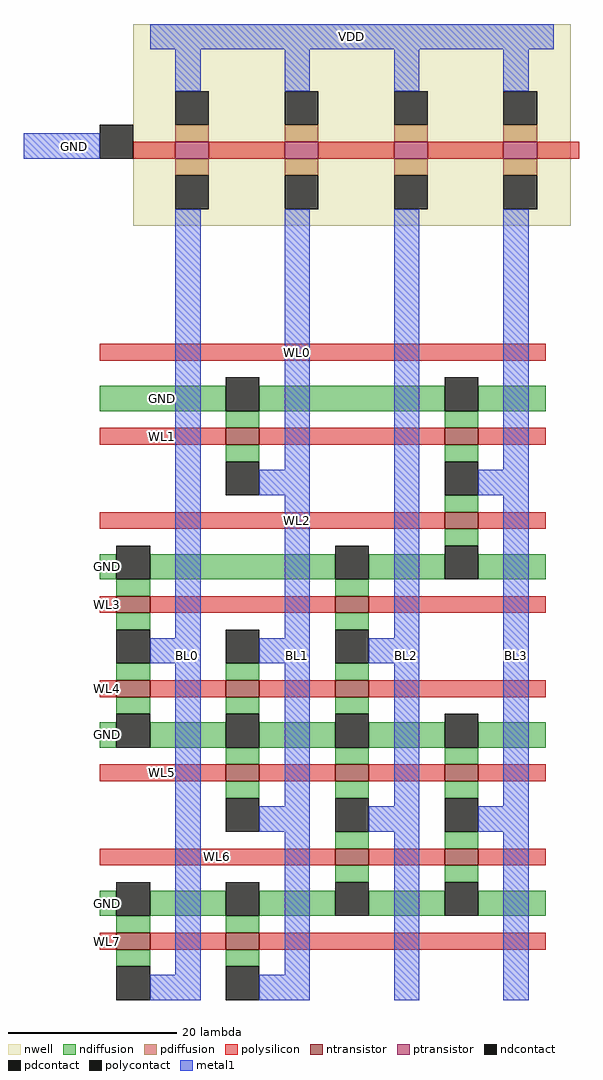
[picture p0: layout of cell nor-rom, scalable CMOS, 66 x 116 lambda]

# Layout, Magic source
magic
tech scmos
<< nwell >>
rect -22 91 30 115
<< polysilicon >>
rect -22 99 -17 101
rect -13 99 -4 101
rect 0 99 9 101
rect 13 99 22 101
rect 26 99 31 101
rect -26 75 27 77
rect -26 65 -11 67
rect -7 65 15 67
rect 19 65 27 67
rect -26 55 15 57
rect 19 55 27 57
rect -26 45 -24 47
rect -20 45 2 47
rect 6 45 27 47
rect -26 35 -24 37
rect -20 35 -11 37
rect -7 35 2 37
rect 6 35 27 37
rect -26 25 -11 27
rect -7 25 2 27
rect 6 25 15 27
rect 19 25 27 27
rect -26 15 2 17
rect 6 15 15 17
rect 19 15 27 17
rect -26 5 -24 7
rect -20 5 -11 7
rect -7 5 27 7
<< ndiffusion >>
rect -26 69 -11 72
rect -7 69 15 72
rect 19 69 27 72
rect -11 67 -7 69
rect 15 67 19 69
rect -11 63 -7 65
rect 15 63 19 65
rect 15 57 19 59
rect 15 53 19 55
rect -26 49 -24 52
rect -20 49 2 52
rect 6 49 15 52
rect 19 49 27 52
rect -24 47 -20 49
rect 2 47 6 49
rect -24 43 -20 45
rect 2 43 6 45
rect -24 37 -20 39
rect -11 37 -7 39
rect 2 37 6 39
rect -24 33 -20 35
rect -26 29 -24 32
rect -11 33 -7 35
rect -20 29 -11 32
rect 2 33 6 35
rect -7 29 2 32
rect 6 29 15 32
rect 19 29 27 32
rect -11 27 -7 29
rect 2 27 6 29
rect 15 27 19 29
rect -11 23 -7 25
rect 2 23 6 25
rect 2 17 6 19
rect 15 23 19 25
rect 15 17 19 19
rect 2 13 6 15
rect -26 9 -24 12
rect -20 9 -11 12
rect -7 9 2 12
rect 15 13 19 15
rect 6 9 15 12
rect 19 9 27 12
rect -24 7 -20 9
rect -11 7 -7 9
rect -24 3 -20 5
rect -11 3 -7 5
<< pdiffusion >>
rect -17 101 -13 103
rect -4 101 0 103
rect 9 101 13 103
rect 22 101 26 103
rect -17 97 -13 99
rect -4 97 0 99
rect 9 97 13 99
rect 22 97 26 99
<< metal1 >>
rect -20 112 28 115
rect -17 107 -14 112
rect -4 107 -1 112
rect 9 107 12 112
rect 22 107 25 112
rect -35 99 -26 102
rect -17 42 -14 93
rect -4 62 -1 93
rect -7 59 -1 62
rect -20 39 -14 42
rect -4 42 -1 59
rect -7 39 -1 42
rect 9 42 12 93
rect 22 62 25 93
rect 19 59 25 62
rect 6 39 12 42
rect -17 2 -14 39
rect -4 22 -1 39
rect -7 19 -1 22
rect 9 22 12 39
rect 6 19 12 22
rect 22 22 25 59
rect 19 19 25 22
rect -20 -1 -14 2
rect -4 2 -1 19
rect -7 -1 -1 2
rect 9 -1 12 19
rect 22 -1 25 19
<< ntransistor >>
rect -11 65 -7 67
rect 15 65 19 67
rect 15 55 19 57
rect -24 45 -20 47
rect 2 45 6 47
rect -24 35 -20 37
rect -11 35 -7 37
rect 2 35 6 37
rect -11 25 -7 27
rect 2 25 6 27
rect 15 25 19 27
rect 2 15 6 17
rect 15 15 19 17
rect -24 5 -20 7
rect -11 5 -7 7
<< ptransistor >>
rect -17 99 -13 101
rect -4 99 0 101
rect 9 99 13 101
rect 22 99 26 101
<< polycontact >>
rect -26 99 -22 103
<< ndcontact >>
rect -11 69 -7 73
rect 15 69 19 73
rect -11 59 -7 63
rect 15 59 19 63
rect -24 49 -20 53
rect 2 49 6 53
rect 15 49 19 53
rect -24 39 -20 43
rect -11 39 -7 43
rect 2 39 6 43
rect -24 29 -20 33
rect -11 29 -7 33
rect 2 29 6 33
rect 15 29 19 33
rect -11 19 -7 23
rect 2 19 6 23
rect 15 19 19 23
rect -24 9 -20 13
rect -11 9 -7 13
rect 2 9 6 13
rect 15 9 19 13
rect -24 -1 -20 3
rect -11 -1 -7 3
<< pdcontact >>
rect -17 103 -13 107
rect -4 103 0 107
rect 9 103 13 107
rect 22 103 26 107
rect -17 93 -13 97
rect -4 93 0 97
rect 9 93 13 97
rect 22 93 26 97
<< labels >>
rlabel polysilicon -26 5 -24 7 7 WL7
rlabel polysilicon -26 25 -11 27 7 WL5
rlabel polysilicon -26 35 -24 37 7 WL4
rlabel polysilicon -26 45 -24 47 7 WL3
rlabel space -26 55 21 57 7 WL2
rlabel polysilicon -26 65 -11 67 7 WL1
rlabel polysilicon -26 75 21 77 7 WL0
rlabel ndiffusion -26 69 -11 72 7 GND
rlabel ndiffusion -26 49 -24 52 7 GND
rlabel ndiffusion -26 29 -24 32 7 GND
rlabel ndiffusion -26 9 -24 12 7 GND
rlabel polysilicon -26 15 2 17 7 WL6
rlabel metal1 -17 -1 -14 81 5 BL0
rlabel metal1 -4 -1 -1 81 5 BL1
rlabel metal1 9 -1 12 81 5 BL2
rlabel metal1 22 -1 25 81 5 BL3
rlabel metal1 -35 99 -23 102 7 GND
rlabel metal1 -20 112 28 115 1 VDD
<< end >>
